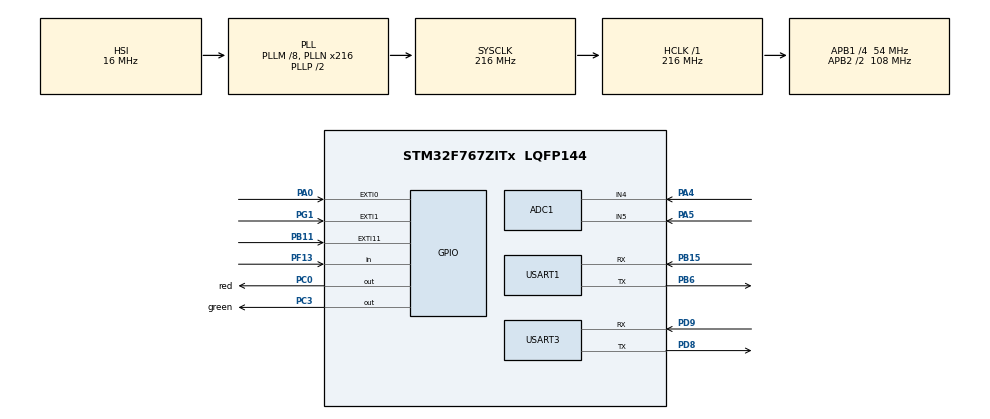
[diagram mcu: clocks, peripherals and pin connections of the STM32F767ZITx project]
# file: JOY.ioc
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ADC1.Channel-0\#ChannelRegularConversion=ADC_CHANNEL_4
ADC1.Channel-1\#ChannelRegularConversion=ADC_CHANNEL_5
ADC1.ContinuousConvMode=ENABLE
ADC1.DMAContinuousRequests=ENABLE
ADC1.InjNumberOfConversion=0
ADC1.NbrOfConversion=2
ADC1.NbrOfConversionFlag=1
ADC1.Rank-0\#ChannelRegularConversion=1
ADC1.Rank-1\#ChannelRegularConversion=2
ADC1.SamplingTime-0\#ChannelRegularConversion=ADC_SAMPLETIME_112CYCLES
ADC1.SamplingTime-1\#ChannelRegularConversion=ADC_SAMPLETIME_112CYCLES
ADC1.ScanConvMode=ADC_SCAN_ENABLE
ADC1.master=1
Dma.ADC1.0.Direction=DMA_PERIPH_TO_MEMORY
Dma.ADC1.0.FIFOMode=DMA_FIFOMODE_DISABLE
Dma.ADC1.0.Instance=DMA2_Stream0
Dma.ADC1.0.MemDataAlignment=DMA_MDATAALIGN_WORD
Dma.ADC1.0.MemInc=DMA_MINC_ENABLE
Dma.ADC1.0.Mode=DMA_CIRCULAR
Dma.ADC1.0.PeriphDataAlignment=DMA_PDATAALIGN_WORD
Dma.ADC1.0.PeriphInc=DMA_PINC_DISABLE
Dma.ADC1.0.Priority=DMA_PRIORITY_LOW
Dma.Request0=ADC1
Mcu.Family=STM32F7
Mcu.Name=STM32F767ZITx
Mcu.Package=LQFP144
NVIC.ADC_IRQn=true\:0\:0\:true\:false\:true\:true\:true\:true
NVIC.DMA2_Stream0_IRQn=true\:0\:0\:false\:false\:true\:false\:true\:true
NVIC.EXTI0_IRQn=true\:1\:0\:true\:false\:true\:true\:true\:true
NVIC.EXTI15_10_IRQn=true\:1\:0\:true\:false\:true\:true\:true\:true
NVIC.EXTI1_IRQn=true\:1\:0\:true\:false\:true\:true\:true\:true
NVIC.PriorityGroup=NVIC_PRIORITYGROUP_1
NVIC.USART1_IRQn=true\:0\:0\:false\:false\:true\:true\:true\:true
NVIC.USART3_IRQn=true\:0\:0\:false\:false\:true\:true\:true\:true
PA0/WKUP.Signal=GPXTI0
PA4.Signal=ADCx_IN4
PA5.Signal=ADCx_IN5
PB11.Signal=GPXTI11
PB15.Mode=Asynchronous
PB15.Signal=USART1_RX
PB6.Mode=Asynchronous
PB6.Signal=USART1_TX
PC0.GPIO_Label=red
PC0.Signal=GPIO_Output
PC3.GPIO_Label=green
PC3.Signal=GPIO_Output
PD8.Mode=Asynchronous
PD8.Signal=USART3_TX
PD9.Mode=Asynchronous
PD9.Signal=USART3_RX
PF13.Signal=GPIO_Input
PG1.Signal=GPXTI1
ProjectManager.HeapSize=0x200
ProjectManager.StackSize=0x400
ProjectManager.TargetToolchain=STM32CubeIDE
RCC.AHBFreq_Value=216000000
RCC.APB1CLKDivider=RCC_HCLK_DIV4
RCC.APB1Freq_Value=54000000
RCC.APB1TimFreq_Value=108000000
RCC.APB2CLKDivider=RCC_HCLK_DIV2
RCC.APB2Freq_Value=108000000
RCC.APB2TimFreq_Value=216000000
RCC.CortexFreq_Value=216000000
RCC.HCLKFreq_Value=216000000
RCC.HSE_VALUE=25000000
RCC.HSI_VALUE=16000000
RCC.LSE_VALUE=32768
RCC.PLLM=8
RCC.PLLN=216
RCC.SYSCLKFreq_VALUE=216000000
RCC.SYSCLKSource=RCC_SYSCLKSOURCE_PLLCLK
RCC.USBFreq_Value=216000000
RCC.VCOOutputFreq_Value=432000000
SH.ADCx_IN4.0=ADC1_IN4,IN4
SH.ADCx_IN5.0=ADC1_IN5,IN5
USART1.VirtualMode-Asynchronous=VM_ASYNC
USART3.VirtualMode-Asynchronous=VM_ASYNC
board=custom

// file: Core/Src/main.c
/* USER CODE BEGIN Header */
/**
 ******************************************************************************
 * @file           : main.c
 * @brief          : Main program body
 ******************************************************************************
 * @attention
 *
 * Copyright (c) 2023 STMicroelectronics.
 * All rights reserved.
 *
 * This software is licensed under terms that can be found in the LICENSE file
 * in the root directory of this software component.
 * If no LICENSE file comes with this software, it is provided AS-IS.
 *
 ******************************************************************************
 */
/* USER CODE END Header */
#include "main.h"

/* USER CODE BEGIN Includes */
#include "stdio.h"
#include "string.h"
/* USER CODE END Includes */

/* USER CODE BEGIN PD */
#define BUFFER_LEN  1

/* USER CODE END PD */

ADC_HandleTypeDef hadc1;
DMA_HandleTypeDef hdma_adc1;

UART_HandleTypeDef huart1;
UART_HandleTypeDef huart3;

/* USER CODE BEGIN PV */
uint8_t RX_BUFFER[BUFFER_LEN] = { 0 };
uint8_t TX_BUFFER[BUFFER_LEN] = { 0 };
uint32_t VR[2];
char str_vr1[100];
char str_vr2[100];
char str_vr3[100];
char str_vr4[100];
uint8_t rxData =66;

uint16_t ch1;
uint8_t light = 1;
char state[100] = "stop";
/* USER CODE END PV */

void SystemClock_Config(void);
static void MX_GPIO_Init(void);
static void MX_DMA_Init(void);
static void MX_ADC1_Init(void);
static void MX_USART3_UART_Init(void);
static void MX_USART1_UART_Init(void);

int main(void)
{

  /* MCU Configuration--------------------------------------------------------*/

  /* Reset of all peripherals, Initializes the Flash interface and the Systick. */
  HAL_Init();

  /* Configure the system clock */
  SystemClock_Config();

  /* Initialize all configured peripherals */
  MX_GPIO_Init();
  MX_DMA_Init();
  MX_ADC1_Init();
  MX_USART3_UART_Init();
  MX_USART1_UART_Init();
  /* USER CODE BEGIN 2 */

	HAL_ADC_Start_DMA(&hadc1, VR, 2);
	HAL_UART_Receive_IT(&huart1, &light, 1);

  /* USER CODE END 2 */

  /* Infinite loop */
  /* USER CODE BEGIN WHILE */
	while (1) {
		//controller
		HAL_ADC_Start_DMA(&hadc1, VR, 2);

//		sprintf(str_vr1, "X : %d\r\n", VR[0]);
//		sprintf(str_vr2, "Y : %d\r\n", VR[1]);
		while (__HAL_UART_GET_FLAG(&huart3,UART_FLAG_TC) == RESET) {
		}
		HAL_UART_Transmit(&huart3, (uint8_t*) str_vr1, strlen(str_vr1), 1000);
		HAL_UART_Transmit(&huart3, (uint8_t*) str_vr2, strlen(str_vr2), 1000);

		if (VR[0] >= 1900 && VR[1] >= 1900 && VR[0] <= 2200 && VR[1] <= 2200) {
			strcpy(state, "stop");
			rxData = 66;

		} else if (VR[0] >= 1300 && VR[0] <= 2800 && VR[1] > 2100) {
			strcpy(state, "forward");
			rxData = 87;

		} else if (VR[0] >= 1300 && VR[0] <= 2800 && VR[1] < 2000) {
			strcpy(state, "backward");
			rxData = 83;

		} else if (VR[0] < 2000) {
			strcpy(state, "turnleft");
			rxData = 65;

		} else if (VR[0] > 2100) {
			strcpy(state, "turnright");
			rxData = 68;
		}
//		if(HAL_GPIO_ReadPin(interupt_GPIO_Port, interupt_Pin) == 0)
//				{
//							rxData = 77;
//				}
				sprintf(str_vr3, "X : %d ,Y : %d  State: " , VR[0], VR[1]);
				HAL_UART_Transmit(&huart3,  light, 1, 1000);
		HAL_UART_Transmit(&huart3, (uint8_t*) &str_vr3, strlen(str_vr3), 1000);
		HAL_UART_Transmit(&huart3,  &rxData, 1, 1000);
		HAL_UART_Transmit(&huart3, "\r\n", 2, 1000);
		HAL_UART_Transmit(&huart1,  &rxData, 1, 1000);

		HAL_Delay(250);
    /* USER CODE END WHILE */

	}
}

void SystemClock_Config(void)
{
  RCC_OscInitTypeDef RCC_OscInitStruct = {0};
  RCC_ClkInitTypeDef RCC_ClkInitStruct = {0};

  /** Configure the main internal regulator output voltage
  */
  __HAL_RCC_PWR_CLK_ENABLE();
  __HAL_PWR_VOLTAGESCALING_CONFIG(PWR_REGULATOR_VOLTAGE_SCALE1);

  /** Initializes the RCC Oscillators according to the specified parameters
  * in the RCC_OscInitTypeDef structure.
  */
  RCC_OscInitStruct.OscillatorType = RCC_OSCILLATORTYPE_HSI;
  RCC_OscInitStruct.HSIState = RCC_HSI_ON;
  RCC_OscInitStruct.HSICalibrationValue = RCC_HSICALIBRATION_DEFAULT;
  RCC_OscInitStruct.PLL.PLLState = RCC_PLL_ON;
  RCC_OscInitStruct.PLL.PLLSource = RCC_PLLSOURCE_HSI;
  RCC_OscInitStruct.PLL.PLLM = 8;
  RCC_OscInitStruct.PLL.PLLN = 216;
  RCC_OscInitStruct.PLL.PLLP = RCC_PLLP_DIV2;
  RCC_OscInitStruct.PLL.PLLQ = 2;
  RCC_OscInitStruct.PLL.PLLR = 2;
  if (HAL_RCC_OscConfig(&RCC_OscInitStruct) != HAL_OK)
  {
    Error_Handler();
  }

  /** Activate the Over-Drive mode
  */
  if (HAL_PWREx_EnableOverDrive() != HAL_OK)
  {
    Error_Handler();
  }

  /** Initializes the CPU, AHB and APB buses clocks
  */
  RCC_ClkInitStruct.ClockType = RCC_CLOCKTYPE_HCLK|RCC_CLOCKTYPE_SYSCLK
                              |RCC_CLOCKTYPE_PCLK1|RCC_CLOCKTYPE_PCLK2;
  RCC_ClkInitStruct.SYSCLKSource = RCC_SYSCLKSOURCE_PLLCLK;
  RCC_ClkInitStruct.AHBCLKDivider = RCC_SYSCLK_DIV1;
  RCC_ClkInitStruct.APB1CLKDivider = RCC_HCLK_DIV4;
  RCC_ClkInitStruct.APB2CLKDivider = RCC_HCLK_DIV2;

  if (HAL_RCC_ClockConfig(&RCC_ClkInitStruct, FLASH_LATENCY_7) != HAL_OK)
  {
    Error_Handler();
  }
}

static void MX_ADC1_Init(void)
{

  ADC_ChannelConfTypeDef sConfig = {0};

  /** Configure the global features of the ADC (Clock, Resolution, Data Alignment and number of conversion)
  */
  hadc1.Instance = ADC1;
  hadc1.Init.ClockPrescaler = ADC_CLOCK_SYNC_PCLK_DIV4;
  hadc1.Init.Resolution = ADC_RESOLUTION_12B;
  hadc1.Init.ScanConvMode = ADC_SCAN_ENABLE;
  hadc1.Init.ContinuousConvMode = ENABLE;
  hadc1.Init.DiscontinuousConvMode = DISABLE;
  hadc1.Init.ExternalTrigConvEdge = ADC_EXTERNALTRIGCONVEDGE_NONE;
  hadc1.Init.ExternalTrigConv = ADC_SOFTWARE_START;
  hadc1.Init.DataAlign = ADC_DATAALIGN_RIGHT;
  hadc1.Init.NbrOfConversion = 2;
  hadc1.Init.DMAContinuousRequests = ENABLE;
  hadc1.Init.EOCSelection = ADC_EOC_SINGLE_CONV;
  if (HAL_ADC_Init(&hadc1) != HAL_OK)
  {
    Error_Handler();
  }

  /** Configure for the selected ADC regular channel its corresponding rank in the sequencer and its sample time.
  */
  sConfig.Channel = ADC_CHANNEL_4;
  sConfig.Rank = ADC_REGULAR_RANK_1;
  sConfig.SamplingTime = ADC_SAMPLETIME_112CYCLES;
  if (HAL_ADC_ConfigChannel(&hadc1, &sConfig) != HAL_OK)
  {
    Error_Handler();
  }

  /** Configure for the selected ADC regular channel its corresponding rank in the sequencer and its sample time.
  */
  sConfig.Channel = ADC_CHANNEL_5;
  sConfig.Rank = ADC_REGULAR_RANK_2;
  if (HAL_ADC_ConfigChannel(&hadc1, &sConfig) != HAL_OK)
  {
    Error_Handler();
  }

}

static void MX_USART1_UART_Init(void)
{

  huart1.Instance = USART1;
  huart1.Init.BaudRate = 115200;
  huart1.Init.WordLength = UART_WORDLENGTH_8B;
  huart1.Init.StopBits = UART_STOPBITS_1;
  huart1.Init.Parity = UART_PARITY_NONE;
  huart1.Init.Mode = UART_MODE_TX_RX;
  huart1.Init.HwFlowCtl = UART_HWCONTROL_NONE;
  huart1.Init.OverSampling = UART_OVERSAMPLING_16;
  huart1.Init.OneBitSampling = UART_ONE_BIT_SAMPLE_DISABLE;
  huart1.AdvancedInit.AdvFeatureInit = UART_ADVFEATURE_NO_INIT;
  if (HAL_UART_Init(&huart1) != HAL_OK)
  {
    Error_Handler();
  }

}

static void MX_USART3_UART_Init(void)
{

  huart3.Instance = USART3;
  huart3.Init.BaudRate = 115200;
  huart3.Init.WordLength = UART_WORDLENGTH_8B;
  huart3.Init.StopBits = UART_STOPBITS_1;
  huart3.Init.Parity = UART_PARITY_NONE;
  huart3.Init.Mode = UART_MODE_TX_RX;
  huart3.Init.HwFlowCtl = UART_HWCONTROL_NONE;
  huart3.Init.OverSampling = UART_OVERSAMPLING_16;
  huart3.Init.OneBitSampling = UART_ONE_BIT_SAMPLE_DISABLE;
  huart3.AdvancedInit.AdvFeatureInit = UART_ADVFEATURE_NO_INIT;
  if (HAL_UART_Init(&huart3) != HAL_OK)
  {
    Error_Handler();
  }

}

static void MX_DMA_Init(void)
{

  /* DMA controller clock enable */
  __HAL_RCC_DMA2_CLK_ENABLE();

  /* DMA interrupt init */
  /* DMA2_Stream0_IRQn interrupt configuration */
  HAL_NVIC_SetPriority(DMA2_Stream0_IRQn, 0, 0);
  HAL_NVIC_EnableIRQ(DMA2_Stream0_IRQn);

}

static void MX_GPIO_Init(void)
{
  GPIO_InitTypeDef GPIO_InitStruct = {0};

  /* GPIO Ports Clock Enable */
  __HAL_RCC_GPIOC_CLK_ENABLE();
  __HAL_RCC_GPIOA_CLK_ENABLE();
  __HAL_RCC_GPIOF_CLK_ENABLE();
  __HAL_RCC_GPIOG_CLK_ENABLE();
  __HAL_RCC_GPIOB_CLK_ENABLE();
  __HAL_RCC_GPIOD_CLK_ENABLE();

  /*Configure GPIO pin Output Level */
  HAL_GPIO_WritePin(GPIOC, red_Pin|green_Pin, GPIO_PIN_RESET);

  /*Configure GPIO pins : red_Pin green_Pin */
  GPIO_InitStruct.Pin = red_Pin|green_Pin;
  GPIO_InitStruct.Mode = GPIO_MODE_OUTPUT_PP;
  GPIO_InitStruct.Pull = GPIO_NOPULL;
  GPIO_InitStruct.Speed = GPIO_SPEED_FREQ_LOW;
  HAL_GPIO_Init(GPIOC, &GPIO_InitStruct);

  /*Configure GPIO pin : PA0 */
  GPIO_InitStruct.Pin = GPIO_PIN_0;
  GPIO_InitStruct.Mode = GPIO_MODE_IT_RISING;
  GPIO_InitStruct.Pull = GPIO_NOPULL;
  HAL_GPIO_Init(GPIOA, &GPIO_InitStruct);

  /*Configure GPIO pin : PF13 */
  GPIO_InitStruct.Pin = GPIO_PIN_13;
  GPIO_InitStruct.Mode = GPIO_MODE_INPUT;
  GPIO_InitStruct.Pull = GPIO_NOPULL;
  HAL_GPIO_Init(GPIOF, &GPIO_InitStruct);

  /*Configure GPIO pin : PG1 */
  GPIO_InitStruct.Pin = GPIO_PIN_1;
  GPIO_InitStruct.Mode = GPIO_MODE_IT_RISING;
  GPIO_InitStruct.Pull = GPIO_NOPULL;
  HAL_GPIO_Init(GPIOG, &GPIO_InitStruct);

  /*Configure GPIO pin : PB11 */
  GPIO_InitStruct.Pin = GPIO_PIN_11;
  GPIO_InitStruct.Mode = GPIO_MODE_IT_RISING;
  GPIO_InitStruct.Pull = GPIO_NOPULL;
  HAL_GPIO_Init(GPIOB, &GPIO_InitStruct);

  /* EXTI interrupt init*/
  HAL_NVIC_SetPriority(EXTI0_IRQn, 1, 0);
  HAL_NVIC_EnableIRQ(EXTI0_IRQn);

  HAL_NVIC_SetPriority(EXTI1_IRQn, 1, 0);
  HAL_NVIC_EnableIRQ(EXTI1_IRQn);

  HAL_NVIC_SetPriority(EXTI15_10_IRQn, 1, 0);
  HAL_NVIC_EnableIRQ(EXTI15_10_IRQn);

}

/* USER CODE BEGIN 4 */
void HAL_GPIO_EXTI_Callback ( uint16_t GPIO_Pin)
{
	if(GPIO_Pin==GPIO_PIN_0)
	{
		rxData = 77;
		HAL_UART_Transmit(&huart1,  &rxData, 1, 1000);
		HAL_UART_Transmit(&huart3,  &rxData, 1, 1000);

	}
	else if(GPIO_Pin==GPIO_PIN_1)
		{
			rxData = 78;
			HAL_UART_Transmit(&huart1,  &rxData, 1, 1000);
			HAL_UART_Transmit(&huart3,  &rxData, 1, 1000);

		}

HAL_Delay(300);
//

}
void HAL_UART_RxCpltCallback(UART_HandleTypeDef *huart) {
	UNUSED(huart);

	if (huart->Instance == huart1.Instance) {
		if(light==0)
		{
			HAL_GPIO_WritePin(red_GPIO_Port, red_Pin, 1);
			HAL_GPIO_WritePin(green_GPIO_Port, green_Pin, 0);
		}
		else{
			HAL_GPIO_WritePin(red_GPIO_Port, red_Pin, 0);
			HAL_GPIO_WritePin(green_GPIO_Port, green_Pin, 1);
		}
	}

	sprintf(str_vr1, "%d" , light);
	HAL_UART_Receive_IT(&huart1, &light, 1);

}
/* USER CODE END 4 */

void Error_Handler(void)
{
	__disable_irq();
	while (1) {
	}
}
